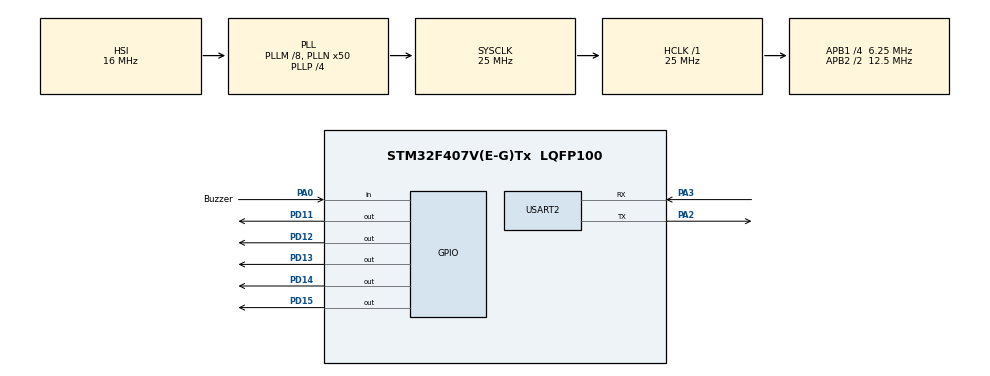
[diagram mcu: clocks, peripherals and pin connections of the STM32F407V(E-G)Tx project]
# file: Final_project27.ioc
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Mcu.Family=STM32F4
Mcu.Name=STM32F407V(E-G)Tx
Mcu.Package=LQFP100
NVIC.PriorityGroup=NVIC_PRIORITYGROUP_0
NVIC.TIM2_IRQn=true\:0\:0\:false\:false\:true\:true\:true\:true
NVIC.USART2_IRQn=true\:0\:0\:false\:false\:true\:true\:true\:true
PA0-WKUP.GPIO_Label=Buzzer
PA0-WKUP.GPIO_PuPd=GPIO_PULLDOWN
PA0-WKUP.Signal=GPIO_Input
PA2.Mode=Asynchronous
PA2.Signal=USART2_TX
PA3.Mode=Asynchronous
PA3.Signal=USART2_RX
PD11.Signal=GPIO_Output
PD12.Signal=GPIO_Output
PD13.Signal=GPIO_Output
PD14.Signal=GPIO_Output
PD15.Signal=GPIO_Output
ProjectManager.HeapSize=0x200
ProjectManager.StackSize=0x400
ProjectManager.TargetToolchain=STM32CubeIDE
RCC.48MHZClocksFreq_Value=14285714.285714285
RCC.AHBFreq_Value=25000000
RCC.APB1CLKDivider=RCC_HCLK_DIV4
RCC.APB1Freq_Value=6250000
RCC.APB1TimFreq_Value=12500000
RCC.APB2CLKDivider=RCC_HCLK_DIV2
RCC.APB2Freq_Value=12500000
RCC.APB2TimFreq_Value=25000000
RCC.CortexFreq_Value=25000000
RCC.HCLKFreq_Value=25000000
RCC.HSE_VALUE=8000000
RCC.HSI_VALUE=16000000
RCC.LSE_VALUE=32768
RCC.PLLM=8
RCC.PLLN=50
RCC.PLLP=RCC_PLLP_DIV4
RCC.PLLQ=7
RCC.SYSCLKFreq_VALUE=25000000
RCC.SYSCLKSource=RCC_SYSCLKSOURCE_PLLCLK
RCC.VCOOutputFreq_Value=100000000
TIM2.Period=999
TIM2.Prescaler=8399
USART2.VirtualMode=VM_ASYNC
VP_RTC_VS_RTC_Activate.Mode=RTC_Enabled
VP_TIM2_VS_ClockSourceINT.Mode=Internal
board=STM32F407G-DISC1

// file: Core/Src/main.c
/* USER CODE BEGIN Header */
/**
  ******************************************************************************
  * @file           : main.c
  * @brief          : Main program body
  ******************************************************************************
  * @attention
  *
  * Copyright (c) 2025 STMicroelectronics.
  * All rights reserved.
  *
  * This software is licensed under terms that can be found in the LICENSE file
  * in the root directory of this software component.
  * If no LICENSE file comes with this software, it is provided AS-IS.
  *
  ******************************************************************************
  */
/* USER CODE END Header */
#include "main.h"

/* USER CODE BEGIN Includes */
#include "stm32f4xx_hal.h"
#include <string.h>
#include <stdio.h>
#include <stdbool.h>
#include <stdlib.h>

/* USER CODE END Includes */

RTC_HandleTypeDef hrtc;

TIM_HandleTypeDef htim2;

UART_HandleTypeDef huart2;

/* USER CODE BEGIN PV */

uint8_t rxData;
uint8_t leds_on = 1;
uint8_t stopwatch_running = 0;
uint32_t stopwatch_time = 0;

/* USER CODE END PV */

void SystemClock_Config(void);
static void MX_GPIO_Init(void);
static void MX_TIM2_Init(void);
static void MX_USART2_UART_Init(void);
static void MX_RTC_Init(void);

/* USER CODE BEGIN 0 */
void HAL_TIM_PeriodElapsedCallback(TIM_HandleTypeDef *htim) {
    if (htim->Instance == TIM2) {
        static uint8_t tick = 0;
        tick++;

        // Blink LEDs at different speeds
        if (leds_on) {
            if (tick % 1 == 0) HAL_GPIO_TogglePin(GPIOD, GPIO_PIN_12); // 100ms
            if (tick % 2 == 0) HAL_GPIO_TogglePin(GPIOD, GPIO_PIN_13); // 200ms
            if (tick % 4 == 0) HAL_GPIO_TogglePin(GPIOD, GPIO_PIN_14); // 400ms
            if (tick % 8 == 0) HAL_GPIO_TogglePin(GPIOD, GPIO_PIN_15); // 800ms
        }

        // Stopwatch increment
        if (stopwatch_running) {
            stopwatch_time++;
            if (stopwatch_time % 10 == 0) { // every 1 second
                char msg[30];
                sprintf(msg, "Time: %lu s\r\n", stopwatch_time / 10);
                HAL_UART_Transmit(&huart2, (uint8_t*)msg, strlen(msg), HAL_MAX_DELAY);
            }
        }
    }
}

void HAL_UART_RxCpltCallback(UART_HandleTypeDef *huart) {
    static char uart_buf[20];
    static uint8_t idx = 0;

    if (huart->Instance == USART2) {
        if (rxData == '\r' || rxData == '\n') {
            uart_buf[idx] = '\0';   // end string
            idx = 0;

            // --- Check for LED commands ---
            if (strcmp(uart_buf, "1") == 0) {
                leds_on = 1;
                char msg[] = "LEDs ON\r\n";
                HAL_UART_Transmit(&huart2, (uint8_t*)msg, strlen(msg), HAL_MAX_DELAY);
            } else if (strcmp(uart_buf, "0") == 0) {
                leds_on = 0;
                HAL_GPIO_WritePin(GPIOD, GPIO_PIN_12|GPIO_PIN_13|GPIO_PIN_14|GPIO_PIN_15, GPIO_PIN_RESET);
                char msg[] = "LEDs OFF\r\n";
                HAL_UART_Transmit(&huart2, (uint8_t*)msg, strlen(msg), HAL_MAX_DELAY);
            }
            // --- Check for RTC set command ---
            else if (strncmp(uart_buf, "T=", 2) == 0) {
                int hh, mm, ss;
                if (sscanf(uart_buf+2, "%d:%d:%d", &hh, &mm, &ss) == 3) {
                    RTC_TimeTypeDef sTime = {0};
                    RTC_DateTypeDef sDate = {0};

                    sTime.Hours = hh;
                    sTime.Minutes = mm;
                    sTime.Seconds = ss;
                    HAL_RTC_SetTime(&hrtc, &sTime, RTC_FORMAT_BIN);

                    // keep old date (or set a dummy one)
                    sDate.WeekDay = RTC_WEEKDAY_MONDAY;
                    sDate.Month   = RTC_MONTH_JANUARY;
                    sDate.Date    = 0x01;
                    sDate.Year    = 0x25;  // 2025
                    HAL_RTC_SetDate(&hrtc, &sDate, RTC_FORMAT_BIN);

                    char msg[40];
                    sprintf(msg, "RTC Updated: %02d:%02d:%02d\r\n", hh, mm, ss);
                    HAL_UART_Transmit(&huart2, (uint8_t*)msg, strlen(msg), HAL_MAX_DELAY);
                } else {
                    char msg[] = "Invalid format. Use T=HH:MM:SS\r\n";
                    HAL_UART_Transmit(&huart2, (uint8_t*)msg, strlen(msg), HAL_MAX_DELAY);
                }
            }

        } else {
            // store character
            if (idx < sizeof(uart_buf)-1) {
                uart_buf[idx++] = rxData;
            }
        }

        // restart RX
        HAL_UART_Receive_IT(&huart2, &rxData, 1);
    }
}

/* USER CODE END 0 */

int main(void)
{

  /* MCU Configuration--------------------------------------------------------*/

  /* Reset of all peripherals, Initializes the Flash interface and the Systick. */
  HAL_Init();

  /* Configure the system clock */
  SystemClock_Config();

  /* Initialize all configured peripherals */
  MX_GPIO_Init();
  MX_TIM2_Init();
  MX_USART2_UART_Init();
  MX_RTC_Init();
  /* USER CODE BEGIN 2 */

  HAL_TIM_Base_Start_IT(&htim2);
  HAL_UART_Receive_IT(&huart2, &rxData, 1);

      char msg[] = "Working\r\nPress 1=LED ON, 0=LED OFF\r\n";
      HAL_UART_Transmit(&huart2, (uint8_t*)msg, strlen(msg), HAL_MAX_DELAY);

      RTC_TimeTypeDef sTime;
      RTC_DateTypeDef sDate;

  /* USER CODE END 2 */

  /* Infinite loop */
  while (1)
  {

    /* USER CODE BEGIN 3 */
	  if (HAL_GPIO_ReadPin(GPIOA, GPIO_PIN_0) == GPIO_PIN_SET) {
	              HAL_Delay(200); // debounce
	              if (HAL_GPIO_ReadPin(GPIOA, GPIO_PIN_0) == GPIO_PIN_SET) {
	                  stopwatch_running = !stopwatch_running;
	                  if (stopwatch_running)
	                      HAL_GPIO_WritePin(GPIOA, GPIO_PIN_6, GPIO_PIN_SET); // buzzer ON
	                  else
	                      HAL_GPIO_WritePin(GPIOA, GPIO_PIN_6, GPIO_PIN_RESET); // buzzer OFF
	                  while (HAL_GPIO_ReadPin(GPIOA, GPIO_PIN_0) == GPIO_PIN_SET);
	              }
	          }

	          // Print RTC every second
	          HAL_RTC_GetTime(&hrtc, &sTime, RTC_FORMAT_BIN);
	          HAL_RTC_GetDate(&hrtc, &sDate, RTC_FORMAT_BIN);
	          char timeMsg[30];
	          sprintf(timeMsg, "RTC: %02d:%02d:%02d\r\n", sTime.Hours, sTime.Minutes, sTime.Seconds);
	          HAL_UART_Transmit(&huart2, (uint8_t*)timeMsg, strlen(timeMsg), HAL_MAX_DELAY);
	          HAL_Delay(1000);
	      }

  /* USER CODE END 3 */
}

void SystemClock_Config(void)
{
  RCC_OscInitTypeDef RCC_OscInitStruct = {0};
  RCC_ClkInitTypeDef RCC_ClkInitStruct = {0};

  /** Configure the main internal regulator output voltage
  */
  __HAL_RCC_PWR_CLK_ENABLE();
  __HAL_PWR_VOLTAGESCALING_CONFIG(PWR_REGULATOR_VOLTAGE_SCALE1);

  /** Initializes the RCC Oscillators according to the specified parameters
  * in the RCC_OscInitTypeDef structure.
  */
  RCC_OscInitStruct.OscillatorType = RCC_OSCILLATORTYPE_HSI|RCC_OSCILLATORTYPE_LSI;
  RCC_OscInitStruct.HSIState = RCC_HSI_ON;
  RCC_OscInitStruct.HSICalibrationValue = RCC_HSICALIBRATION_DEFAULT;
  RCC_OscInitStruct.LSIState = RCC_LSI_ON;
  RCC_OscInitStruct.PLL.PLLState = RCC_PLL_ON;
  RCC_OscInitStruct.PLL.PLLSource = RCC_PLLSOURCE_HSI;
  RCC_OscInitStruct.PLL.PLLM = 8;
  RCC_OscInitStruct.PLL.PLLN = 50;
  RCC_OscInitStruct.PLL.PLLP = RCC_PLLP_DIV4;
  RCC_OscInitStruct.PLL.PLLQ = 7;
  if (HAL_RCC_OscConfig(&RCC_OscInitStruct) != HAL_OK)
  {
    Error_Handler();
  }

  /** Initializes the CPU, AHB and APB buses clocks
  */
  RCC_ClkInitStruct.ClockType = RCC_CLOCKTYPE_HCLK|RCC_CLOCKTYPE_SYSCLK
                              |RCC_CLOCKTYPE_PCLK1|RCC_CLOCKTYPE_PCLK2;
  RCC_ClkInitStruct.SYSCLKSource = RCC_SYSCLKSOURCE_PLLCLK;
  RCC_ClkInitStruct.AHBCLKDivider = RCC_SYSCLK_DIV1;
  RCC_ClkInitStruct.APB1CLKDivider = RCC_HCLK_DIV4;
  RCC_ClkInitStruct.APB2CLKDivider = RCC_HCLK_DIV2;

  if (HAL_RCC_ClockConfig(&RCC_ClkInitStruct, FLASH_LATENCY_0) != HAL_OK)
  {
    Error_Handler();
  }
}

static void MX_RTC_Init(void)
{

  /** Initialize RTC Only
  */
  hrtc.Instance = RTC;
  hrtc.Init.HourFormat = RTC_HOURFORMAT_24;
  hrtc.Init.AsynchPrediv = 127;
  hrtc.Init.SynchPrediv = 255;
  hrtc.Init.OutPut = RTC_OUTPUT_DISABLE;
  hrtc.Init.OutPutPolarity = RTC_OUTPUT_POLARITY_HIGH;
  hrtc.Init.OutPutType = RTC_OUTPUT_TYPE_OPENDRAIN;
  if (HAL_RTC_Init(&hrtc) != HAL_OK)
  {
    Error_Handler();
  }

}

static void MX_TIM2_Init(void)
{

  TIM_ClockConfigTypeDef sClockSourceConfig = {0};
  TIM_MasterConfigTypeDef sMasterConfig = {0};

  htim2.Instance = TIM2;
  htim2.Init.Prescaler = 8399;
  htim2.Init.CounterMode = TIM_COUNTERMODE_UP;
  htim2.Init.Period = 999;
  htim2.Init.ClockDivision = TIM_CLOCKDIVISION_DIV1;
  htim2.Init.AutoReloadPreload = TIM_AUTORELOAD_PRELOAD_DISABLE;
  if (HAL_TIM_Base_Init(&htim2) != HAL_OK)
  {
    Error_Handler();
  }
  sClockSourceConfig.ClockSource = TIM_CLOCKSOURCE_INTERNAL;
  if (HAL_TIM_ConfigClockSource(&htim2, &sClockSourceConfig) != HAL_OK)
  {
    Error_Handler();
  }
  sMasterConfig.MasterOutputTrigger = TIM_TRGO_RESET;
  sMasterConfig.MasterSlaveMode = TIM_MASTERSLAVEMODE_DISABLE;
  if (HAL_TIMEx_MasterConfigSynchronization(&htim2, &sMasterConfig) != HAL_OK)
  {
    Error_Handler();
  }

}

static void MX_USART2_UART_Init(void)
{

  huart2.Instance = USART2;
  huart2.Init.BaudRate = 115200;
  huart2.Init.WordLength = UART_WORDLENGTH_8B;
  huart2.Init.StopBits = UART_STOPBITS_1;
  huart2.Init.Parity = UART_PARITY_NONE;
  huart2.Init.Mode = UART_MODE_TX_RX;
  huart2.Init.HwFlowCtl = UART_HWCONTROL_NONE;
  huart2.Init.OverSampling = UART_OVERSAMPLING_16;
  if (HAL_UART_Init(&huart2) != HAL_OK)
  {
    Error_Handler();
  }

}

static void MX_GPIO_Init(void)
{
  GPIO_InitTypeDef GPIO_InitStruct = {0};

  /* GPIO Ports Clock Enable */
  __HAL_RCC_GPIOA_CLK_ENABLE();
  __HAL_RCC_GPIOD_CLK_ENABLE();

  /*Configure GPIO pin Output Level */
  HAL_GPIO_WritePin(GPIOD, GPIO_PIN_11|GPIO_PIN_12|GPIO_PIN_13|GPIO_PIN_14
                          |GPIO_PIN_15, GPIO_PIN_RESET);

  /*Configure GPIO pin : Buzzer_Pin */
  GPIO_InitStruct.Pin = Buzzer_Pin;
  GPIO_InitStruct.Mode = GPIO_MODE_INPUT;
  GPIO_InitStruct.Pull = GPIO_PULLDOWN;
  HAL_GPIO_Init(Buzzer_GPIO_Port, &GPIO_InitStruct);

  /*Configure GPIO pins : PD11 PD12 PD13 PD14
                           PD15 */
  GPIO_InitStruct.Pin = GPIO_PIN_11|GPIO_PIN_12|GPIO_PIN_13|GPIO_PIN_14
                          |GPIO_PIN_15;
  GPIO_InitStruct.Mode = GPIO_MODE_OUTPUT_PP;
  GPIO_InitStruct.Pull = GPIO_NOPULL;
  GPIO_InitStruct.Speed = GPIO_SPEED_FREQ_LOW;
  HAL_GPIO_Init(GPIOD, &GPIO_InitStruct);

}

void Error_Handler(void)
{
  __disable_irq();
  while (1)
  {
  }
}
